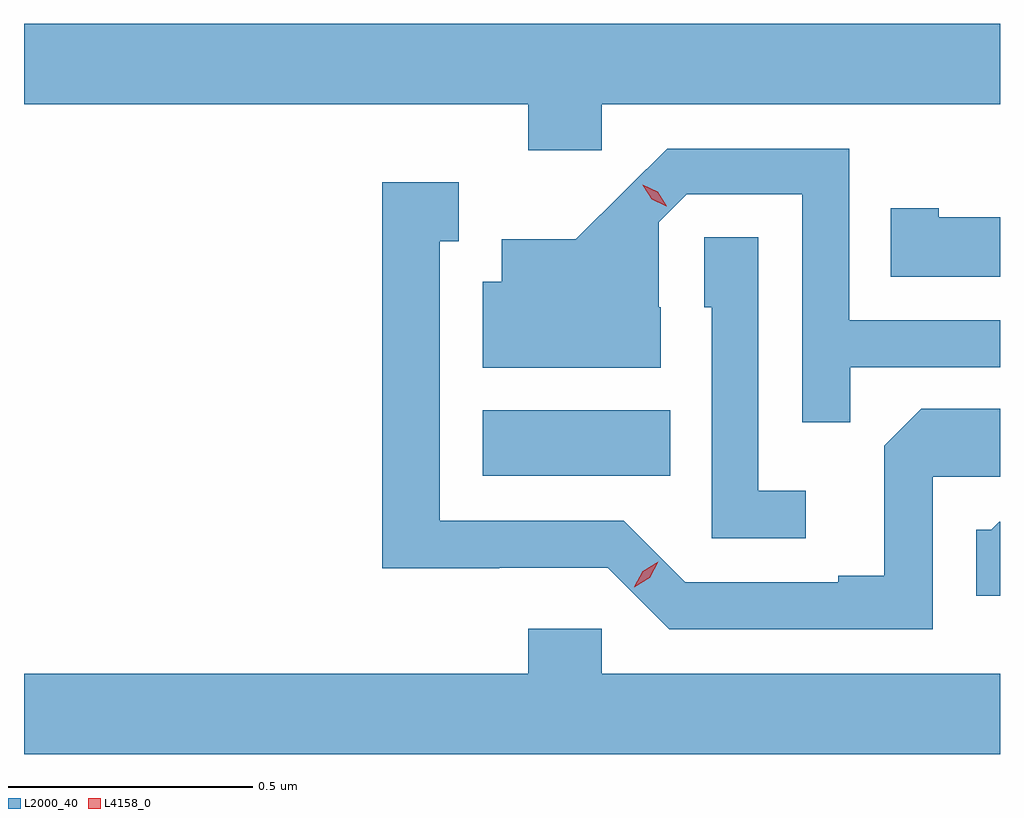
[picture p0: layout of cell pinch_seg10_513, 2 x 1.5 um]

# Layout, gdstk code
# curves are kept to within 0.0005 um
import gdstk
lib = gdstk.Library(unit=1e-6, precision=1e-09)
def R(c, l, rs):  # rectangles x0, y0, x1, y1
    for r in rs: c.add(gdstk.rectangle(r[:2], r[2:], *l))
def P(c, l, *ps):  # polygons
    for p in ps: c.add(gdstk.Polygon(p, *l))
L2000_40 = (2000, 40)
L4158_0 = (4158, 0)

pinch_seg10_513 = lib.new_cell('pinch_seg10_513')
R(pinch_seg10_513, L2000_40, [(280.562,1302.218,280.946,1302.352)])
P(pinch_seg10_513, L2000_40, [(280.806,1302.98),(281.622,1302.98),(281.622,1303.144),(279.622,1303.144),(279.622,1302.98),(280.655,1302.98),(280.655,1302.885),(280.806,1302.885)],
  [(281.315,1302.441),(281.622,1302.441),(281.622,1302.537),(281.313,1302.537),(281.313,1302.888),(280.94,1302.888),(280.753,1302.703),(280.601,1302.703),(280.601,1302.616),(280.562,1302.616),(280.562,1302.44),(280.927,1302.44),(280.927,1302.564),(280.923,1302.564),(280.923,1302.738),(280.98,1302.795),(281.217,1302.795),(281.217,1302.328),(281.315,1302.328)],
  [(281.484,1302.216),(281.622,1302.216),(281.622,1302.356),(281.461,1302.356),(281.385,1302.28),(281.385,1302.013),(281.291,1302.013),(281.291,1302),(280.977,1302),(280.851,1302.126),(280.474,1302.126),(280.474,1302.699),(280.513,1302.699),(280.513,1302.82),(280.356,1302.82),(280.356,1302.029),(280.596,1302.029),(280.596,1302.03),(280.818,1302.03),(280.944,1301.904),(281.484,1301.904)],
  [(281.622,1302.748),(281.496,1302.748),(281.496,1302.766),(281.398,1302.766),(281.398,1302.626),(281.622,1302.626)],
  [(281.224,1302.187),(281.127,1302.187),(281.127,1302.707),(281.016,1302.707),(281.016,1302.564),(281.031,1302.564),(281.031,1302.09),(281.224,1302.09)],
  [(281.622,1302.124),(281.62,1302.124),(281.604,1302.108),(281.573,1302.108),(281.573,1301.972),(281.622,1301.972)],
  [(281.622,1301.812),(280.806,1301.812),(280.806,1301.905),(280.655,1301.905),(280.655,1301.812),(279.622,1301.812),(279.622,1301.648),(281.622,1301.648)])
P(pinch_seg10_513, L4158_0, [(280.938,1302.77),(280.908,1302.785),(280.89,1302.814),(280.89,1302.815),(280.89,1302.815),(280.921,1302.8),(280.939,1302.77),(280.939,1302.77)],
  [(280.872,1301.99),(280.872,1301.991),(280.89,1302.023),(280.922,1302.042),(280.922,1302.042),(280.922,1302.042),(280.904,1302.009),(280.872,1301.99)])

lib.write_gds('pinch_seg10_513.gds')
